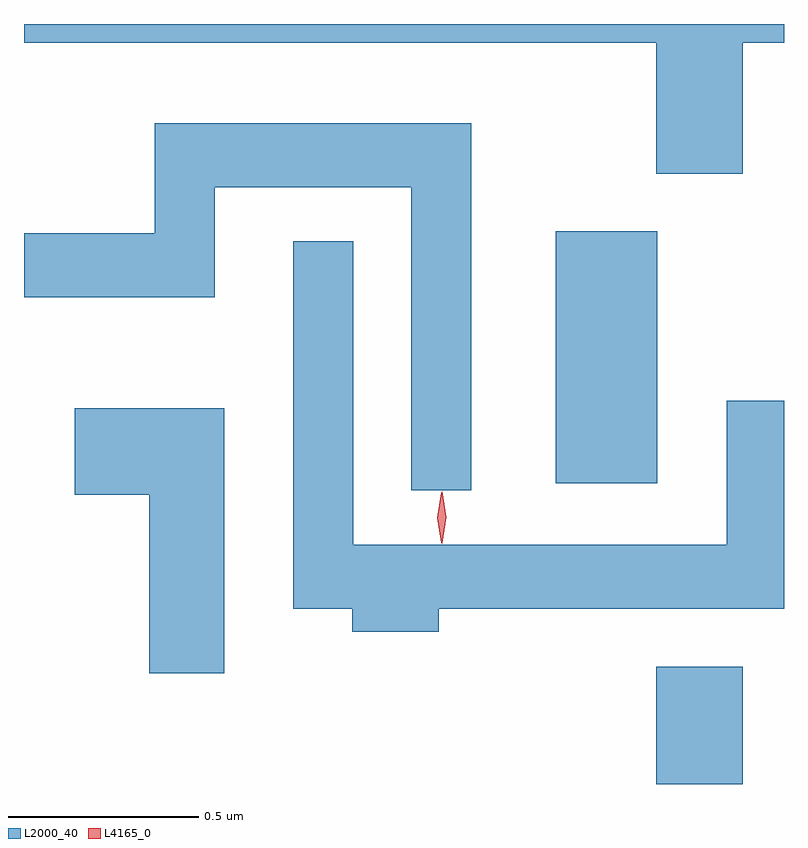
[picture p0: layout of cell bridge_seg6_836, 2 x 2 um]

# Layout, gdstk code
import gdstk
lib = gdstk.Library(unit=1e-6, precision=1e-09)
def R(c, l, rs):  # rectangles x0, y0, x1, y1
    for r in rs: c.add(gdstk.rectangle(r[:2], r[2:], *l))
def P(c, l, *ps):  # polygons
    for p in ps: c.add(gdstk.Polygon(p, *l))
L2000_40 = (2000, 40)
L4165_0 = (4165, 0)

bridge_seg6_836 = lib.new_cell('bridge_seg6_836')
R(bridge_seg6_836, L2000_40, [(514.111,1539.205,514.339,1539.514), (513.846,1539.996,514.114,1540.659)])
P(bridge_seg6_836, L2000_40, [(514.339,1541.156),(514.447,1541.156),(514.447,1541.205),(512.447,1541.205),(512.447,1541.156),(514.111,1541.156),(514.111,1540.811),(514.339,1540.811)],
  [(513.624,1540.944),(512.791,1540.944),(512.791,1540.654),(512.447,1540.654),(512.447,1540.486),(512.949,1540.486),(512.949,1540.776),(513.466,1540.776),(513.466,1539.978),(513.624,1539.978)],
  [(513.539,1539.666),(514.447,1539.666),(514.447,1540.213),(514.296,1540.213),(514.296,1539.834),(513.314,1539.834),(513.314,1540.633),(513.156,1540.633),(513.156,1539.666),(513.311,1539.666),(513.311,1539.606),(513.539,1539.606)],
  [(512.974,1540.194),(512.581,1540.194),(512.581,1539.966),(512.776,1539.966),(512.776,1539.496),(512.974,1539.496)])
P(bridge_seg6_836, L4165_0, [(513.546,1539.839),(513.545,1539.84),(513.535,1539.906),(513.545,1539.972),(513.545,1539.973),(513.546,1539.972),(513.555,1539.906),(513.546,1539.84)],
  [(513.548,1539.837),(513.547,1539.838),(513.538,1539.907),(513.547,1539.976),(513.548,1539.976),(513.548,1539.976),(513.558,1539.907),(513.548,1539.838)])

lib.write_gds('bridge_seg6_836.gds')
